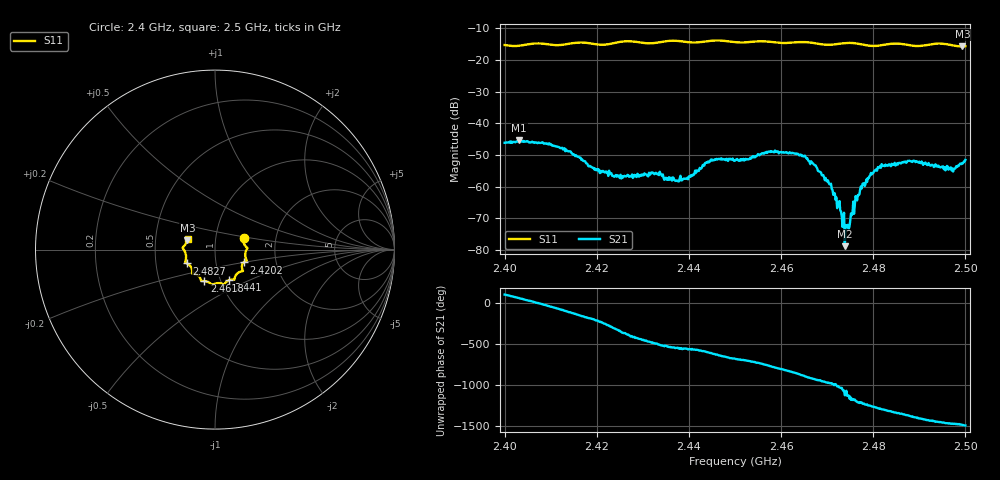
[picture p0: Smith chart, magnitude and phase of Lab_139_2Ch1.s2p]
# Hz S RI R 50
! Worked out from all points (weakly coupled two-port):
!   601 points, 2.4 GHz to 2.5 GHz, reference 50 ohm
!   highest |S21| = -45.31 dB at 2.4032 GHz (marker M1); lowest = -78.7 dB at 2.4738 GHz (marker M2)
!   lowest |S11| = -15.8 dB at 2.4993 GHz (marker M3), VSWR 1.39, Z = 36.5 + j3.82 ohm
!   |S11| at or under -10 dB: start of sweep to end of sweep
!   S12 and S22 are empty: the file has one direction only
!   S11 on the Smith chart (normalised r, x): 2.4 GHz: 1.36, +0.18; 2.4202 GHz: 1.36, -0.20; 2.441 GHz: 1.10, -0.39; 2.4618 GHz: 0.84, -0.30; 2.4827 GHz: 0.72, -0.11; 2.5 GHz: 0.73, +0.09
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2.4e9  0.1588 0.0628  -0.00107 0.0048  0 0  0 0
2.403167e9  0.1644 0.0271  0.00273 0.00469  0 0  0 0
2.409667e9  0.1741 -0.00347  0.0038 -0.00301  0 0  0 0
2.416667e9  0.1772 -0.0607  -0.00248 -0.000931  0 0  0 0
2.420167e9  0.1589 -0.0714  -0.0015 0.001  0 0  0 0
2.433333e9  0.1116 -0.1508  -0.00134 -0.000891  0 0  0 0
2.437333e9  0.1067 -0.1678  -0.00125 0.000134  0 0  0 0
2.441e9  0.079 -0.1698  -0.00134 0.000723  0 0  0 0
2.445167e9  0.0516 -0.1935  -0.0006 0.0026  0 0  0 0
2.45e9  0.0285 -0.1875  0.00192 0.00172  0 0  0 0
2.461833e9  -0.0591 -0.1756  -0.00128 -0.00326  0 0  0 0
2.466667e9  -0.079 -0.1683  -0.00234 0.000701  0 0  0 0
2.470667e9  -0.1007 -0.1403  -0.000294 0.00107  0 0  0 0
2.473833e9  -0.1245 -0.1347  8.45e-05 -7.93e-05  0 0  0 0
2.474333e9  -0.1261 -0.1344  0.000157 -0.000178  0 0  0 0
2.477667e9  -0.1272 -0.1191  -0.000921 -0.000623  0 0  0 0
2.482667e9  -0.1559 -0.077  -0.00165 0.00151  0 0  0 0
2.483333e9  -0.1603 -0.075  -0.00129 0.00184  0 0  0 0
2.489167e9  -0.1613 -0.0351  0.00165 0.00181  0 0  0 0
2.497333e9  -0.1664 0.0266  0.00149 -0.000886  0 0  0 0
2.499333e9  -0.1542 0.051  0.00175 -0.00156  0 0  0 0
2.5e9  -0.1522 0.0603  0.00168 -0.00204  0 0  0 0
